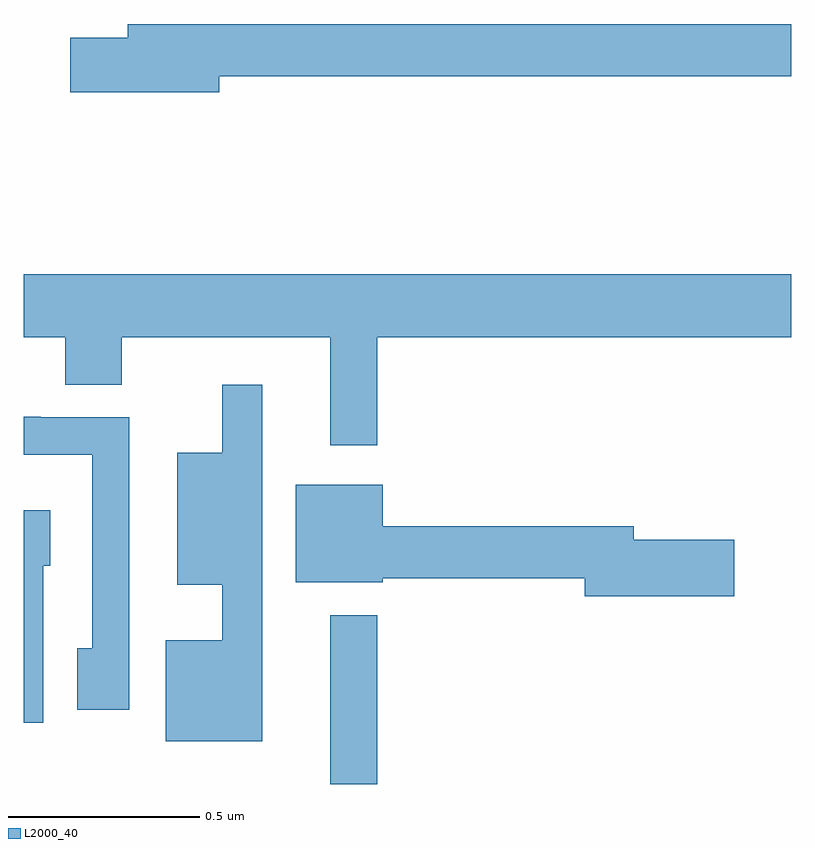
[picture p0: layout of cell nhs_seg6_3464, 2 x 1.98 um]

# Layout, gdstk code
import gdstk
lib = gdstk.Library(unit=1e-6, precision=1e-09)
def R(c, l, rs):  # rectangles x0, y0, x1, y1
    for r in rs: c.add(gdstk.rectangle(r[:2], r[2:], *l))
def P(c, l, *ps):  # polygons
    for p in ps: c.add(gdstk.Polygon(p, *l))
L2000_40 = (2000, 40)

nhs_seg6_3464 = lib.new_cell('nhs_seg6_3464')
R(nhs_seg6_3464, L2000_40, [(157.799,951.5,157.921,951.94)])
P(nhs_seg6_3464, L2000_40, [(157.51,953.344),(159,953.344),(159,953.48),(157.271,953.48),(157.271,953.444),(157.122,953.444),(157.122,953.302),(157.51,953.302)],
  [(157.921,952.664),(159,952.664),(159,952.828),(157,952.828),(157,952.664),(157.108,952.664),(157.108,952.54),(157.255,952.54),(157.255,952.664),(157.799,952.664),(157.799,952.383),(157.921,952.383)],
  [(157.621,952.54),(157.517,952.54),(157.517,952.363),(157.4,952.363),(157.4,952.019),(157.517,952.019),(157.517,951.874),(157.37,951.874),(157.37,951.611),(157.621,951.611)],
  [(157.275,952.455),(157.045,952.455),(157.045,952.457),(157,952.457),(157,952.358),(157.179,952.358),(157.179,951.854),(157.139,951.854),(157.139,951.693),(157.275,951.693)],
  [(158.851,952.136),(158.59,952.136),(158.59,952.172),(157.936,952.172),(157.936,952.279),(157.709,952.279),(157.709,952.025),(157.936,952.025),(157.936,952.036),(158.462,952.036),(158.462,951.989),(158.851,951.989)],
  [(157.051,952.068),(157.069,952.068),(157.069,952.213),(157,952.213),(157,951.66),(157.051,951.66)])

lib.write_gds('nhs_seg6_3464.gds')
